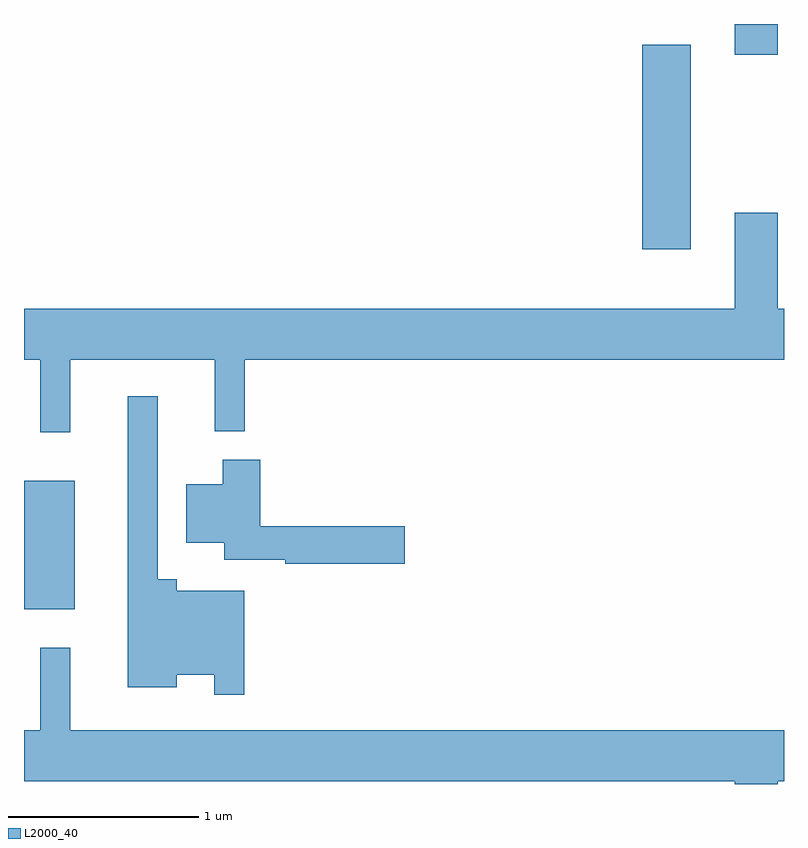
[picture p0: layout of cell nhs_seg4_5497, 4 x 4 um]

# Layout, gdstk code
import gdstk
lib = gdstk.Library(unit=1e-6, precision=1e-09)
def R(c, l, rs):  # rectangles x0, y0, x1, y1
    for r in rs: c.add(gdstk.rectangle(r[:2], r[2:], *l))
def P(c, l, *ps):  # polygons
    for p in ps: c.add(gdstk.Polygon(p, *l))
L2000_40 = (2000, 40)

nhs_seg4_5497 = lib.new_cell('nhs_seg4_5497')
R(nhs_seg4_5497, L2000_40, [(345.611,1368.901,345.879,1369.579), (348.866,1370.796,349.119,1371.874), (349.351,1371.821,349.579,1371.982)])
P(nhs_seg4_5497, L2000_40, [(345.854,1370.216),(346.616,1370.216),(346.616,1369.838),(346.774,1369.838),(346.774,1370.216),(349.611,1370.216),(349.611,1370.484),(349.579,1370.484),(349.579,1370.989),(349.351,1370.989),(349.351,1370.484),(345.611,1370.484),(345.611,1370.216),(345.696,1370.216),(345.696,1369.833),(345.854,1369.833)],
  [(346.769,1368.999),(346.414,1368.999),(346.414,1369.059),(346.314,1369.059),(346.314,1370.023),(346.156,1370.023),(346.156,1368.491),(346.414,1368.491),(346.414,1368.556),(346.611,1368.556),(346.611,1368.453),(346.769,1368.453)],
  [(347.614,1369.339),(346.854,1369.339),(346.854,1369.689),(346.656,1369.689),(346.656,1369.559),(346.466,1369.559),(346.466,1369.251),(346.666,1369.251),(346.666,1369.161),(346.986,1369.161),(346.986,1369.141),(347.614,1369.141)],
  [(349.579,1367.996),(349.611,1367.996),(349.611,1368.264),(345.854,1368.264),(345.854,1368.698),(345.696,1368.698),(345.696,1368.264),(345.611,1368.264),(345.611,1367.996),(349.351,1367.996),(349.351,1367.982),(349.579,1367.982)])

lib.write_gds('nhs_seg4_5497.gds')
